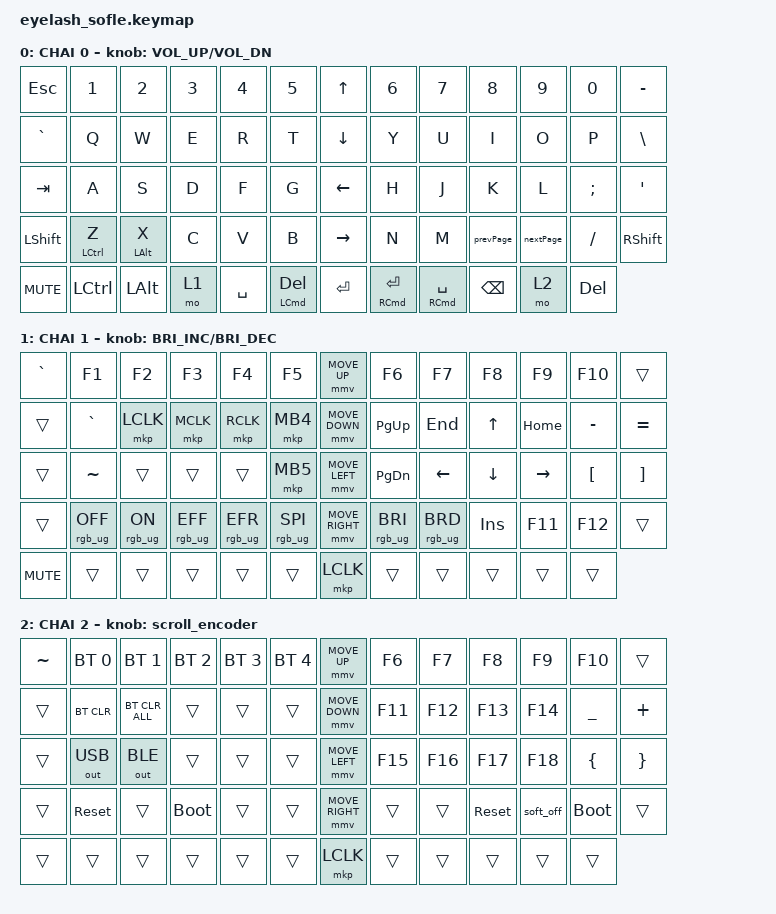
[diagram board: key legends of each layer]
#include <behaviors/mouse_keys.dtsi>
#include <dt-bindings/zmk/mouse.h>
#include <behaviors.dtsi>
#include <dt-bindings/zmk/bt.h>
#include <dt-bindings/zmk/keys.h>
#include <dt-bindings/zmk/outputs.h>
#include <dt-bindings/zmk/pointing.h>
#include <dt-bindings/zmk/pointing.h>
#include <dt-bindings/zmk/pointing.h>
#include <dt-bindings/zmk/rgb.h>

#define ZMK_MOUSE_DEFAULT_MOVE_VAL 1200  // 600
#define ZMK_MOUSE_DEFAULT_SCRL_VAL 20    // 10
#define U_MS_U &mmv MOVE_UP
#define U_MS_D &mmv MOVE_DOWN
#define U_MS_L &mmv MOVE_LEFT
#define U_MS_R &mmv MOVE_RIGHT
#define ZMK_MOUSE_DEFAULT_MOVE_VAL 1200  //  600
#define ZMK_MOUSE_DEFAULT_SCRL_VAL 20    // 10

/ {
    behaviors {
        mmv {
            acceleration-exponent = <1>;      // 1
            time-to-max-speed-ms = <900>;    // 40
            delay-ms = <0>;                   // 0
        };

        msc {
            acceleration-exponent = <1>;      // 0
            time-to-max-speed-ms = <400>;      // 500
            delay-ms = <0>;                   //   10
        };
    };

    scroll_encoder: scroll_encoder {
        compatible = "zmk,behavior-sensor-rotate";
        #sensor-binding-cells = <0>;
        bindings = <&msc SCRL_DOWN>, <&msc SCRL_UP>;

        tap-ms = <30>;
    };

    prevPage: prevPage {
        compatible = "zmk,behavior-mod-morph";
        label = "PREVPAGE";
        bindings = <&kp COMMA>, <&kp LEFT_BRACKET>;

        #binding-cells = <0>;
        mods = <(MOD_LGUI)>;
        keep-mods = <(MOD_LGUI)>;
    };

    nextPage: nextPage {
        compatible = "zmk,behavior-mod-morph";
        label = "NEXTPAGE";
        bindings = <&kp PERIOD>, <&kp RIGHT_BRACKET>;

        #binding-cells = <0>;
        mods = <(MOD_LGUI)>;
        keep-mods = <(MOD_LGUI)>;
    };

    keymap {
        compatible = "zmk,keymap";

        layer0 {
            bindings = <
&kp ESC     &kp N1       &kp N2          &kp N3  &kp N4     &kp N5          &kp UP_ARROW     &kp N6          &kp N7          &kp N8         &kp N9     &kp N0      &kp MINUS
&kp GRAVE   &kp Q        &kp W           &kp E   &kp R      &kp T           &kp DOWN_ARROW   &kp Y           &kp U           &kp I          &kp O      &kp P       &kp BSLH
&kp TAB     &kp A        &kp S           &kp D   &kp F      &kp G           &kp LEFT_ARROW   &kp H           &kp J           &kp K          &kp L      &kp SEMI    &kp APOS
&kp LSHFT   &mt LCTRL Z  &mt LEFT_ALT X  &kp C   &kp V      &kp B           &kp RIGHT_ARROW  &kp N           &kp M           &prevPage      &nextPage  &kp FSLH    &kp RIGHT_SHIFT
&kp C_MUTE  &kp LCTRL    &kp LEFT_ALT    &mo 1   &kp SPACE  &mt LCMD DEL    &kp ENTER        &mt RCMD ENTER  &mt RCMD SPACE  &kp BACKSPACE  &mo 2      &kp DELETE
            >;

            sensor-bindings = <&inc_dec_kp C_VOLUME_UP C_VOL_DN>;
            display-name = "CHAI 0";
        };

        layer_1 {
            bindings = <
&kp GRAVE   &kp F1           &kp F2          &kp F3           &kp F4           &kp F5             &mmv MOVE_UP     &kp F6           &kp F7           &kp F8      &kp F9     &kp F10           &trans
&trans      &kp GRAVE        &mkp LCLK       &mkp MCLK        &mkp RCLK        &mkp MB4           &mmv MOVE_DOWN   &kp PG_UP        &kp END          &kp UP      &kp HOME   &kp MINUS         &kp EQUAL
&trans      &kp TILDE        &trans          &trans           &trans           &mkp MB5           &mmv MOVE_LEFT   &kp PG_DN        &kp LEFT         &kp DOWN    &kp RIGHT  &kp LEFT_BRACKET  &kp RIGHT_BRACKET
&trans      &rgb_ug RGB_OFF  &rgb_ug RGB_ON  &rgb_ug RGB_EFF  &rgb_ug RGB_EFR  &rgb_ug RGB_SPI    &mmv MOVE_RIGHT  &rgb_ug RGB_BRI  &rgb_ug RGB_BRD  &kp INSERT  &kp F11    &kp F12           &trans
&kp C_MUTE  &trans           &trans          &trans           &trans           &trans             &mkp LCLK        &trans           &trans           &trans      &trans     &trans
            >;

            display-name = "CHAI 1";
            sensor-bindings = <&inc_dec_kp C_BRIGHTNESS_INC C_BRIGHTNESS_DEC>;
        };

        layer_2 {
            bindings = <
&kp TILDE  &bt BT_SEL 0  &bt BT_SEL 1    &bt BT_SEL 2  &bt BT_SEL 3  &bt BT_SEL 4    &mmv MOVE_UP     &kp F6   &kp F7   &kp F8      &kp F9     &kp F10      &trans
&trans     &bt BT_CLR    &bt BT_CLR_ALL  &trans        &trans        &trans          &mmv MOVE_DOWN   &kp F11  &kp F12  &kp F13     &kp F14    &kp UNDER    &kp PLUS
&trans     &out OUT_USB  &out OUT_BLE    &trans        &trans        &trans          &mmv MOVE_LEFT   &kp F15  &kp F16  &kp F17     &kp F18    &kp LBRC     &kp RBRC
&trans     &sys_reset    &trans          &bootloader   &trans        &trans          &mmv MOVE_RIGHT  &trans   &trans   &sys_reset  &soft_off  &bootloader  &trans
&trans     &trans        &trans          &trans        &trans        &trans          &mkp LCLK        &trans   &trans   &trans      &trans     &trans
            >;

            display-name = "CHAI 2";
            sensor-bindings = <&scroll_encoder>;
        };
    };
};
